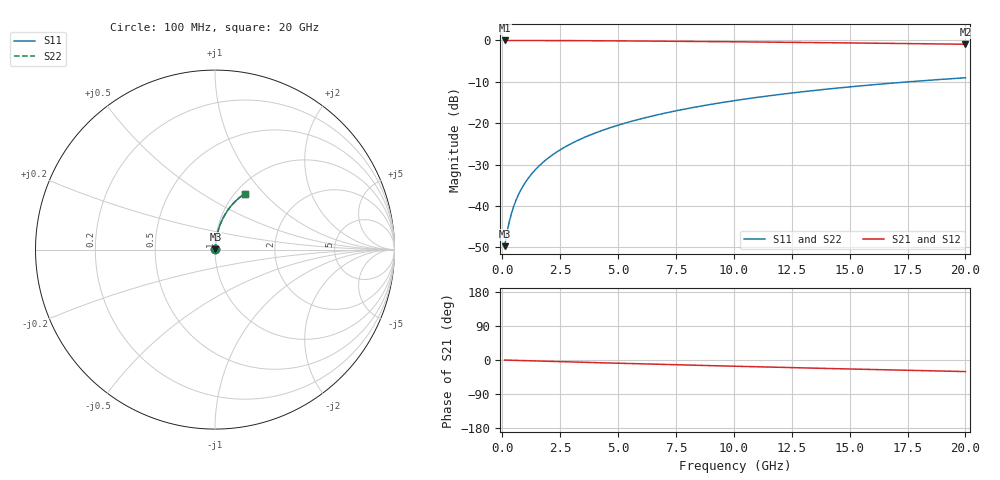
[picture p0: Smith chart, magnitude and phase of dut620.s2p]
! Touchstone file exported from HFSS 2024.1.0
!  File:  C:/UserFiles/LocalFiles/RDL_TSV_Batchsim/temp_RDL_bottom_620_1779784044.aedt
!  Generated:  04:29:39 PM May 26, 2026
!  Design:  RDL_bottom
!  Project:  temp_RDL_bottom_620_1779784044
!  Setup:  Setup1
!  Solution:  Sweep
! Variables:
!  dtsv = 10.80580581um
!  hbump = 3um
!  htsv = 58.79um
!  ldown = 401.41um
!  lrdl = 100um
!  p = 40
!  p1 = 42.47um
!  rhole = 1um
!  t = 450um
!  tdown = 4.8um
!  trdl = 3.915915916um
!  wdown = 11.71um
!  wrdl = 20um
# GHz S MA R 50.000000
! Terminal data exported
! Port[1] = RDL1_T1
! Port[2] = RDL1_T2
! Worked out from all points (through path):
!   200 points, 100 MHz to 20 GHz, reference 50 ohm
!   highest |S21| = -0.02 dB at 100 MHz (marker M1); lowest = -0.9 dB at 20 GHz (marker M2)
!   group delay of S21, straight-line fit = 4.23 ps
!   lowest |S11| = -49.7 dB at 100 MHz (marker M3), VSWR 1.01, Z = 50.3 + j0.199 ohm
!   |S11| at or under -10 dB: start of sweep to 17.58 GHz
!   |S22| runs from -49.7 to -9.0 dB; largest |S21 - S12| = 1.8e-15
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0.1  0.003268 37.2  0.9974 -0.2  0.9974 -0.2  0.003268 37.2
! Gamma 0 0 0 0
! Port Impedance 50 0 50 0
0.2  0.004733 55.6  0.9973 -0.4  0.9973 -0.4  0.004733 55.6
0.3  0.006424 64.8  0.9973 -0.5  0.9973 -0.5  0.006424 64.8
0.4  0.008198 70.0  0.9972 -0.7  0.9972 -0.7  0.008199 70.0
0.5  0.01002 73.4  0.9971 -0.9  0.9971 -0.9  0.01002 73.4
0.6  0.01186 75.7  0.997 -1.1  0.997 -1.1  0.01186 75.7
0.8  0.01559 78.6  0.9968 -1.4  0.9968 -1.4  0.01559 78.6
1.1  0.02123 80.8  0.9965 -1.9  0.9965 -1.9  0.02123 80.8
1.5  0.02878 82.2  0.9959 -2.6  0.9959 -2.6  0.02878 82.2
1.8  0.03445 82.7  0.9954 -3.1  0.9954 -3.1  0.03445 82.7
2.1  0.04011 82.9  0.9949 -3.6  0.9949 -3.6  0.04011 82.9
2.7  0.05142 82.9  0.9935 -4.7  0.9935 -4.7  0.05142 82.9
3.5  0.06645 82.5  0.9913 -6.0  0.9913 -6.0  0.06645 82.5
4.2  0.07955 81.9  0.989 -7.2  0.989 -7.2  0.07956 82.0
5  0.0945 81.2  0.986 -8.5  0.986 -8.5  0.09451 81.2
5.9  0.1113 80.3  0.9822 -10.0  0.9822 -10.0  0.1113 80.3
6.8  0.128 79.2  0.9781 -11.4  0.9781 -11.4  0.128 79.3
8.3  0.1557 77.4  0.9707 -13.8  0.9707 -13.8  0.1557 77.5
10.1  0.1885 75.1  0.961 -16.6  0.961 -16.6  0.1886 75.2
13.4  0.247 70.7  0.9414 -21.4  0.9414 -21.4  0.2471 70.8
16.7  0.3022 66.3  0.9201 -26.1  0.9201 -26.1  0.3023 66.3
20  0.3534 61.9  0.8976 -30.5  0.8976 -30.5  0.3535 61.9
